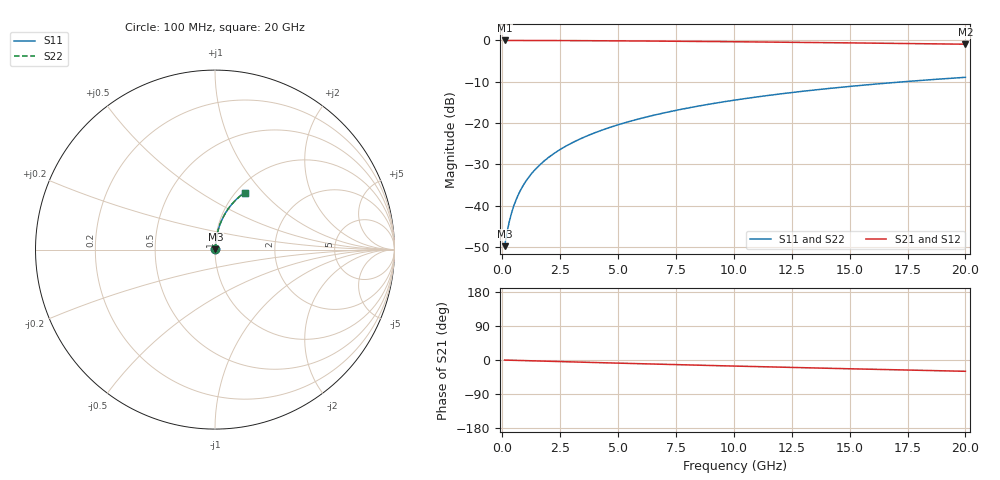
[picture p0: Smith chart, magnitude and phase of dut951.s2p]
! Touchstone file exported from HFSS 2024.1.0
!  File:  C:/UserFiles/LocalFiles/RDL_TSV_Batchsim/temp_RDL_top_951_1779938067.aedt
!  Generated:  11:16:54 AM May 28, 2026
!  Design:  RDL_top
!  Project:  temp_RDL_top_951_1779938067
!  Setup:  Setup1
!  Solution:  Sweep
! Variables:
!  dtsv = 10.80580581um
!  hbump = 3um
!  htsv = 85.24um
!  ldown = 100um
!  lrdl = 361.31um
!  p = 40
!  p1 = 48.68um
!  rhole = 1um
!  t = 450um
!  tdown = 3.915915916um
!  trdl = 4.16um
!  wdown = 15.38538539um
!  wrdl = 12.42um
# GHz S MA R 50.000000
! Terminal data exported
! Port[1] = Box2_T1
! Port[2] = Box2_T2
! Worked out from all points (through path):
!   200 points, 100 MHz to 20 GHz, reference 50 ohm
!   highest |S21| = -0.02 dB at 100 MHz (marker M1); lowest = -0.9 dB at 20 GHz (marker M2)
!   group delay of S21, straight-line fit = 4.13 ps
!   lowest |S11| = -49.8 dB at 100 MHz (marker M3), VSWR 1.01, Z = 50.3 + j0.199 ohm
!   |S11| at or under -10 dB: start of sweep to 17.35 GHz
!   |S22| runs from -49.8 to -8.9 dB; largest |S21 - S12| = 3.4e-15
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0.1  0.003247 37.6  0.9974 -0.2  0.9974 -0.2  0.003247 37.6
! Gamma 0 0 0 0
! Port Impedance 50 0 50 0
0.2  0.004702 56.0  0.9974 -0.3  0.9974 -0.3  0.004702 56.0
0.3  0.006396 65.3  0.9973 -0.5  0.9973 -0.5  0.006396 65.3
0.4  0.008189 70.6  0.9972 -0.7  0.9972 -0.7  0.008189 70.6
0.5  0.01003 74.0  0.9971 -0.9  0.9971 -0.9  0.01003 74.0
0.6  0.0119 76.2  0.997 -1.0  0.997 -1.0  0.0119 76.2
0.8  0.01567 79.0  0.9969 -1.4  0.9969 -1.4  0.01567 79.0
1.1  0.02136 81.2  0.9965 -1.9  0.9965 -1.9  0.02136 81.2
1.5  0.02896 82.5  0.996 -2.5  0.996 -2.5  0.02896 82.5
1.8  0.03466 82.9  0.9956 -3.0  0.9956 -3.0  0.03466 82.9
2.1  0.04035 83.1  0.9951 -3.5  0.9951 -3.5  0.04035 83.1
2.7  0.05174 83.2  0.9938 -4.5  0.9938 -4.5  0.05174 83.2
3.5  0.0669 82.8  0.9917 -5.9  0.9917 -5.9  0.0669 82.8
4.2  0.08017 82.3  0.9895 -7.0  0.9895 -7.0  0.08016 82.3
5  0.09531 81.6  0.9866 -8.3  0.9866 -8.3  0.09531 81.6
5.9  0.1123 80.7  0.983 -9.7  0.983 -9.7  0.1123 80.7
6.8  0.1293 79.7  0.979 -11.1  0.979 -11.1  0.1293 79.7
8.3  0.1574 77.9  0.9716 -13.4  0.9716 -13.4  0.1574 77.9
10.1  0.1907 75.6  0.962 -16.1  0.962 -16.1  0.1906 75.6
13.4  0.2498 71.2  0.9425 -20.9  0.9425 -20.9  0.2498 71.2
16.7  0.3057 66.8  0.9211 -25.5  0.9211 -25.5  0.3057 66.8
20  0.3576 62.5  0.8985 -29.8  0.8985 -29.8  0.3575 62.5
